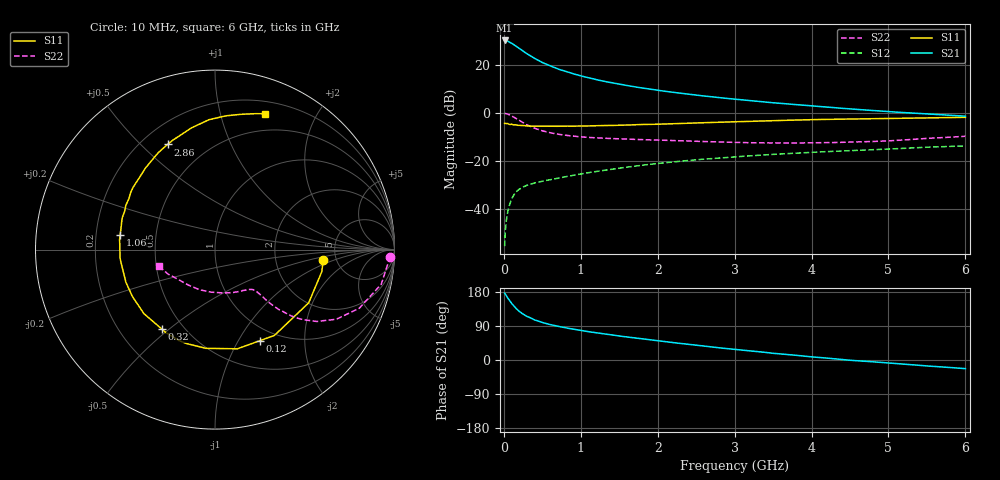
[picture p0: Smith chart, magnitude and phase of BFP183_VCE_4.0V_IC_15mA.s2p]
! Infineon Technologies  Discrete & RF Semiconductors
! BFP183
! VCE = 4.0 V,  IC =  15 mA
! Common Emitter S-Parameters:  Jan 2016
# GHz  S  MA  R  50
!  f  S11  S21  S12  S22
! GHz  MAG  ANG  MAG  ANG  MAG  ANG  MAG  ANG
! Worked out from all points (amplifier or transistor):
!   210 points, 10 MHz to 6 GHz, reference 50 ohm
!   highest |S21| = 30.1 dB at 10 MHz (marker M1)
!   |S21| within 3 dB of that: start of sweep to 186.8 MHz
!   unconditionally stable (mu >= 1): 975.9 MHz to 5.661 GHz
!   at 185 MHz: K = 0.32, MSG = 29.6 dB, |S12| = -32.1 dB
!   at 1.52 GHz: K = 1.12, MAG = 15.3 dB, |S12| = -22.9 dB
!   at 6 GHz: K = 0.96, MSG = 6.2 dB, |S12| = -13.7 dB
!   S11 on the Smith chart (normalised r, x): 10 MHz: 3.92, -0.75; 120 MHz: 0.83, -1.24; 320 MHz: 0.38, -0.47; 1.06 GHz: 0.31, +0.07; 2.86 GHz: 0.30, +0.60; 6 GHz: 0.32, +1.39
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0.01  0.6059 -5.7  31.92 176.6  0.0017 86.0  0.9771 -2.3
0.05  0.6003 -29.6  31 163.7  0.0088 81.9  0.9462 -11.8
0.1  0.5817 -55.3  28.09 149.5  0.0161 66.2  0.8678 -22.1
0.12  0.5656 -63.9  26.66 145.1  0.0185 63.3  0.831 -25.0
0.15  0.5666 -77.3  24.85 137.6  0.0221 60.2  0.7801 -29.8
0.2  0.5523 -95.3  21.88 128.2  0.0259 54.3  0.695 -35.2
0.26  0.5451 -111.7  18.65 119.8  0.0293 50.4  0.6107 -39.2
0.3  0.5372 -120.5  16.92 115.1  0.0313 48.8  0.5635 -41.0
0.32  0.5324 -124.0  16.21 113.5  0.032 48.4  0.5466 -41.4
0.4  0.5332 -138.0  13.54 105.6  0.0349 46.9  0.4793 -43.4
0.5  0.5292 -150.5  11.13 98.9  0.0381 45.8  0.4234 -44.4
0.6  0.5287 -160.0  9.517 93.5  0.0408 46.2  0.3861 -44.7
0.8  0.5312 -174.9  7.274 84.9  0.0473 47.1  0.3425 -45.0
1.02  0.5343 173.2  5.755 77.3  0.0543 48.5  0.3153 -45.9
1.06  0.5343 171.3  5.555 76.0  0.0558 48.7  0.3118 -46.2
1.5  0.5546 153.6  3.941 63.3  0.0711 49.3  0.2886 -50.4
2.02  0.5817 136.1  2.908 50.3  0.0894 47.2  0.2715 -58.8
2.86  0.6427 114.3  2.028 30.9  0.1172 41.6  0.2473 -77.7
3.1  0.6587 109.1  1.861 26.2  0.1248 39.7  0.2414 -84.1
4.1  0.728 91.2  1.355 6.7  0.1541 31.6  0.2395 -114.2
5.1  0.77 78.4  1.037 -9.3  0.1799 24.4  0.2673 -142.7
6  0.8073 69.7  0.853 -22.8  0.2058 16.3  0.3263 -163.5
